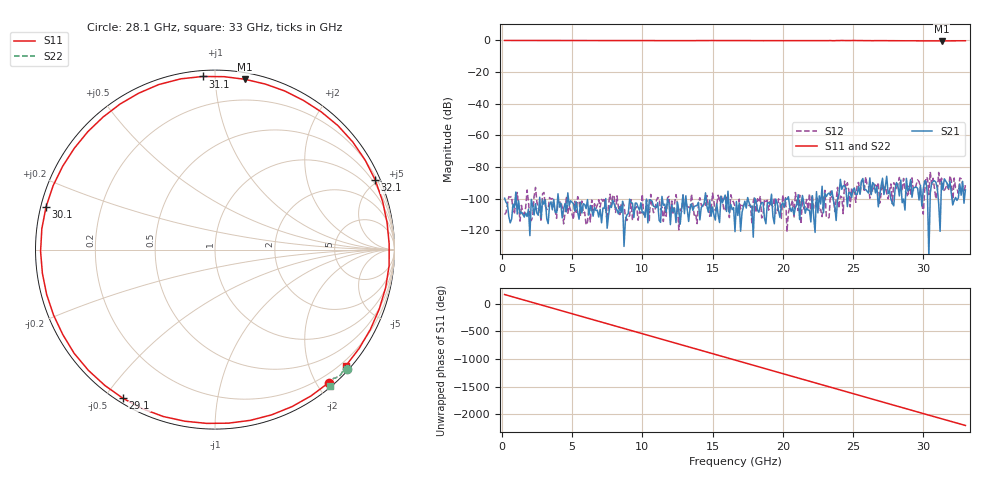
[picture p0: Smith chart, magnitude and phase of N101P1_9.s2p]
# GHZ S RI R 50
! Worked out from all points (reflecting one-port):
!   329 points, 200 MHz to 33 GHz, reference 50 ohm
!   lowest |S11| = -0.3 dB at 31.3 GHz (marker M1), VSWR 53.60, Z = 2.26 + j59.6 ohm
!   phase of S11 starts at 165 deg and turns -2367 deg over the sweep
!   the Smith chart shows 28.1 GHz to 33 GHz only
!   S11 on the Smith chart (normalised r, x): 28.1 GHz: 0.07, -2.17; 29.1 GHz: 0.02, -0.56; 30.1 GHz: 0.01, +0.12; 31.1 GHz: 0.03, +0.93; 32.1 GHz: 0.33, +4.79; 33 GHz: 0.10, -2.62
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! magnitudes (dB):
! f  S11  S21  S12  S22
! 200 MHz  0.0  -99.7  -110.2  0.0
! 5.7 GHz  0.0  -109.1  -101.5  0.0
! 11.2 GHz  -0.2  -113.7  -99.8  -0.1
! 16.6 GHz  -0.1  -120.8  -104.9  0.0
! 20.2 GHz  -0.2  -100.3  -99.4  -0.1
! 22.1 GHz  -0.2  -98.2  -97.6  -0.1
! 23.4 GHz  -0.1  -98.0  -95.4  0.0
! 23.6 GHz  -0.2  -101.1  -99.1  0.0
! 23.9 GHz  -0.1  -100.0  -92.8  0.1
! 24.4 GHz  0.0  -91.8  -88.9  0.0
! 24.6 GHz  -0.1  -105.0  -89.9  0.0
! 25 GHz  0.0  -94.3  -95.2  0.0
! 25.6 GHz  -0.2  -88.8  -89.7  0.0
! 27.6 GHz  -0.2  -95.1  -94.9  0.0
! 28.1 GHz  -0.2  -89.8  -93.6  -0.1
! 28.7 GHz  -0.3  -107.2  -95.1  -0.2
! 29.1 GHz  -0.2  -87.9  -97.1  -0.1
! 30.1 GHz  -0.3  -88.7  -95.2  -0.1
! 31.1 GHz  -0.3  -103.1  -83.4  -0.2
! 31.3 GHz  -0.3  -89.1  -87.1  -0.2
! 32.1 GHz  -0.2  -104.0  -103.3  -0.2
! 33 GHz  -0.2  -94.5  -91.3  0.0
